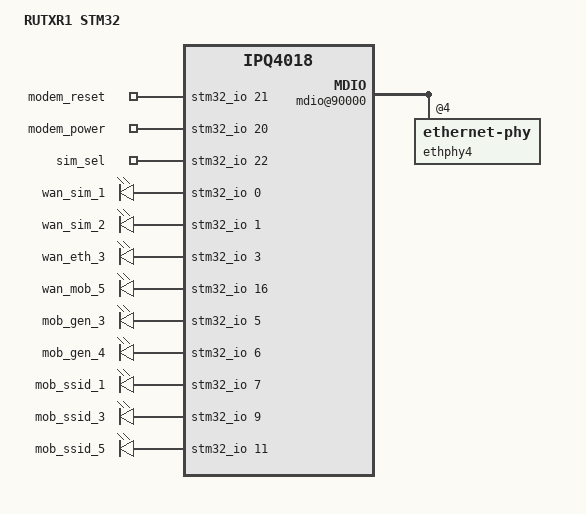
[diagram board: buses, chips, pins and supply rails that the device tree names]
#include "qcom-ipq4018-rutx-STM32.dtsi"

/ {
	model = "RUTXR1 STM32";

	soc {
		mdio@90000 {
			ethphy4: ethernet-phy@4 {
				qcom,fiber-enable;
			};
		};

		gpio-export {
			compatible = "gpio-export";
			#size-cells = <0>;

			gpio_modem_reset {
				gpio-export,name = "modem_reset";
				gpio-export,output = <0>;
				gpios = <&stm32_io 21 GPIO_ACTIVE_HIGH>;
			};

			gpio_modem_power {
				gpio-export,name = "modem_power";
				gpio-export,output = <0>;
				gpios = <&stm32_io 20 GPIO_ACTIVE_HIGH>;
			};

			gpio_sim_select {
				gpio-export,name = "sim_sel";
				gpio-export,output = <0>;
				gpios = <&stm32_io 22 GPIO_ACTIVE_HIGH>;
			};
		};

		leds {
			compatible = "gpio-leds";

			led_wan_sim1 {
				label = "wan_sim_1";
				gpios = <&stm32_io 0 GPIO_ACTIVE_HIGH>;
			};

			led_wan_sim2 {
				label = "wan_sim_2";
				gpios = <&stm32_io 1 GPIO_ACTIVE_HIGH>;
			};

			led_wan_eth {
				label = "wan_eth_3";
				gpios = <&stm32_io 3 GPIO_ACTIVE_HIGH>;
			};

			led_wan_mob {
				label = "wan_mob_5";
				gpios = <&stm32_io 16 GPIO_ACTIVE_HIGH>;
			};

			led_gen_3 {
				label = "mob_gen_3";
				gpios = <&stm32_io 5 GPIO_ACTIVE_HIGH>;
			};

			led_gen_4 {
				label = "mob_gen_4";
				gpios = <&stm32_io 6 GPIO_ACTIVE_HIGH>;
			};

			led_ssid_1 {
				label = "mob_ssid_1";
				gpios = <&stm32_io 7 GPIO_ACTIVE_HIGH>;
				linux,default-trigger = "timer";
			};

			led_ssid_3 {
				label = "mob_ssid_3";
				gpios = <&stm32_io 9 GPIO_ACTIVE_HIGH>;
				linux,default-trigger = "timer";
			};

			led_ssid_5 {
				label = "mob_ssid_5";
				gpios = <&stm32_io 11 GPIO_ACTIVE_HIGH>;
				linux,default-trigger = "timer";
			};
		};
	};

	tlt_gpios { // Modify according to wiki page "DTS syntax with Libgpiod changes"
		gpiochip_info {
			hw_0 {
				hwver = <0>;
				gpiochip_count = <2>;

				gpiochip_0 = <100>; // Built-in
				gpiochip_1 = <37>;  // STM32 expander
			};
		};

		misc {
			GPIO_120 {
				compatible_versions = <0 5>;
				line_name = "GPIO_MODEM_POWER_1";
			};
			GPIO_121 {
				compatible_versions = <0 5>;
				line_name = "GPIO_MODEM_RESET_1";
			};
			GPIO_122 {
				compatible_versions = <0 5>;
				line_name = "GPIO_SIM_SELECT";
			};
		};
	};

	/delete-node/ ioman;
};

&mnfinfo {
	sim_cfg {
		default = "2111000_2112000";
	};
};

